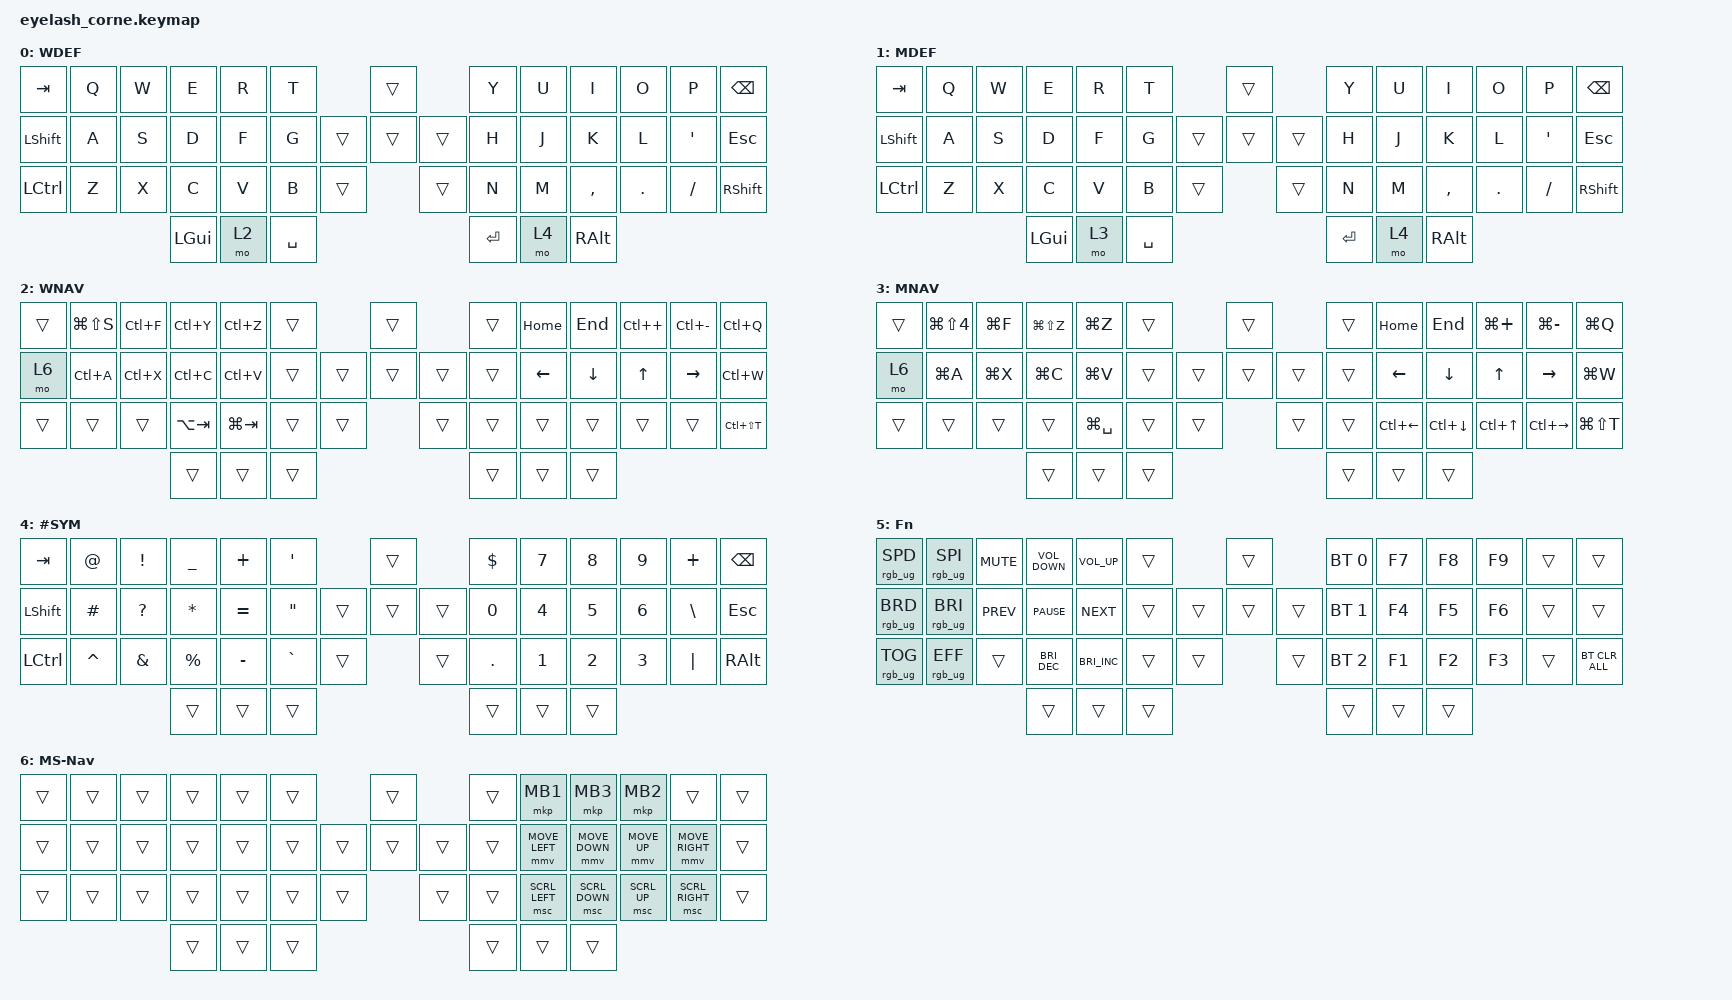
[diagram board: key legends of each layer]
#define ZMK_POINTING_DEFAULT_MOVE_VAL 1200  // 600
#define ZMK_POINTING_DEFAULT_SCRL_VAL 25   // 10

#include <input/processors.dtsi>
#include <zephyr/dt-bindings/input/input-event-codes.h>
#include <behaviors.dtsi>
#include <dt-bindings/zmk/bt.h>
#include <dt-bindings/zmk/keys.h>
#include <dt-bindings/zmk/pointing.h>
#include <dt-bindings/zmk/rgb.h>

&mmv_input_listener { input-processors = <&zip_xy_scaler 2 1>; };

&msc_input_listener { input-processors = <&zip_scroll_scaler 2 1>; };

&msc {
    acceleration-exponent = <1>;      // 0
    time-to-max-speed-ms = <100>;       // 300
    delay-ms = <0>;                   // 0
};

&mmv {
    time-to-max-speed-ms = <500>;
    acceleration-exponent = <1>;
    trigger-period-ms = <16>;
};

&soft_off { hold-time-ms = <2000>; };

/ {
    behaviors {
        td0: td0 {
            compatible = "zmk,behavior-tap-dance";
            display-name = "Shift/Caps Lock Tap Dance";
            #binding-cells = <0>;
            bindings = <&kp LEFT_SHIFT>, <&kp CAPS>;
        };
    };

    rgb_encoder: rgb_encoder {
        compatible = "zmk,behavior-sensor-rotate";
        #sensor-binding-cells = <0>;
        bindings = <&rgb_ug RGB_BRI>, <&rgb_ug RGB_BRD>;
    };

    scroll_encoder: scroll_encoder {
        compatible = "zmk,behavior-sensor-rotate";
        #sensor-binding-cells = <0>;
        bindings = <&msc SCRL_DOWN>, <&msc SCRL_UP>;

        tap-ms = <100>;
    };

    combos {
        compatible = "zmk,combos";

        semcol {
            bindings = <&kp SEMICOLON>;
            key-positions = <38 39>;
            layers = <0 1>;
            timeout-ms = <50>;
        };

        cpslck {
            bindings = <&kp CAPSLOCK>;
            key-positions = <28 41>;
            layers = <0 1>;
        };

        parentheses_left {
            bindings = <&kp LEFT_PARENTHESIS>;
            key-positions = <17 16>;
            layers = <0 1>;
        };

        parentheses_right {
            bindings = <&kp RIGHT_PARENTHESIS>;
            key-positions = <23 24>;
            layers = <0 1>;
        };

        bracket_left {
            bindings = <&kp LEFT_BRACKET>;
            key-positions = <3 4>;
            layers = <0 1>;
        };

        bracket_right {
            bindings = <&kp RIGHT_BRACKET>;
            key-positions = <8 9>;
            layers = <0 1>;
        };

        colon {
            bindings = <&kp COLON>;
            key-positions = <24 25>;
            layers = <0 1>;
        };

        grave {
            bindings = <&kp SQT>;
            key-positions = <15 16>;
            layers = <0 1>;
        };

        brace_left {
            bindings = <&kp LEFT_BRACE>;
            key-positions = <31 32>;
            layers = <0 1>;
        };

        brace_right {
            bindings = <&kp RIGHT_BRACE>;
            key-positions = <37 38>;
            layers = <0 1>;
        };

        less_than {
            bindings = <&kp LESS_THAN>;
            key-positions = <3 2>;
            layers = <0 1>;
        };

        bigger_than {
            bindings = <&kp GREATER_THAN>;
            key-positions = <9 10>;
            layers = <0 1>;
        };

        hyphen {
            bindings = <&kp MINUS>;
            key-positions = <32 37>;
            layers = <0 1>;
        };

        plus {
            bindings = <&kp PLUS>;
            key-positions = <4 8>;
            layers = <0 1>;
        };

        equal {
            bindings = <&kp EQUAL>;
            key-positions = <17 23>;
            layers = <0 1>;
        };

        Pipe {
            bindings = <&kp PIPE>;
            key-positions = <30 31>;
            layers = <0 1>;
        };

        astrsk {
            bindings = <&kp ASTERISK>;
            key-positions = <16 24>;
            layers = <0 1>;
        };

        excla {
            bindings = <&kp EXCLAMATION>;
            key-positions = <31 38>;
            layers = <0 1>;
        };

        qmrk {
            bindings = <&kp QUESTION>;
            key-positions = <9 3>;
            layers = <0 1>;
        };

        at {
            bindings = <&kp AT>;
            key-positions = <18 22>;
            layers = <0 1>;
        };

        underscore {
            bindings = <&kp UNDERSCORE>;
            key-positions = <33 36>;
            layers = <0 1>;
        };

        backslash {
            bindings = <&kp NON_US_BACKSLASH>;
            key-positions = <26 25>;
            layers = <0 1>;
        };

        forwardslash {
            bindings = <&kp SLASH>;
            key-positions = <14 15>;
            layers = <0 1>;
        };

        question_left {
            bindings = <&kp QUESTION>;
            key-positions = <16 24>;
            layers = <0 1>;
        };

        guion {
            bindings = <&kp MINUS>;
            key-positions = <7 5>;
            layers = <0 1>;
        };

        hash {
            bindings = <&kp HASH>;
            key-positions = <29 30>;
            layers = <0 1>;
        };

        ampersant {
            bindings = <&kp AMPERSAND>;
            key-positions = <1 2>;
            layers = <0 1>;
        };

        tilde {
            bindings = <&kp TILDE>;
            key-positions = <39 40>;
            layers = <0 1>;
        };

        caret {
            bindings = <&kp CARET>;
            key-positions = <10 11>;
            layers = <0 1>;
        };

        OS-Mac-Windows {
            bindings = <&to 0>;
            key-positions = <37 38 39 40>;
            layers = <3>;
        };

        OS-Windows-Mac {
            bindings = <&to 1>;
            key-positions = <37 38 39 40>;
            layers = <2>;
        };
    };

    keymap {
        compatible = "zmk,keymap";

        WindowsDef {
            display-name = "WDEF";
            bindings = <
&kp TAB           &kp Q  &kp W  &kp E     &kp R  &kp T                        &trans          &kp Y      &kp U  &kp I      &kp O    &kp P     &kp BSPC
&kp LEFT_SHIFT    &kp A  &kp S  &kp D     &kp F  &kp G                &trans  &trans  &trans  &kp H      &kp J  &kp K      &kp L    &kp SQT   &kp ESCAPE
&kp LEFT_CONTROL  &kp Z  &kp X  &kp C     &kp V  &kp B      &trans            &trans          &kp N      &kp M  &kp COMMA  &kp DOT  &kp FSLH  &kp RIGHT_SHIFT
                                &kp LGUI  &mo 2  &kp SPACE                                    &kp ENTER  &mo 4  &kp RALT
            >;
        };

        MacDef {
            display-name = "MDEF";
            bindings = <
&kp TAB           &kp Q  &kp W  &kp E     &kp R  &kp T                        &trans          &kp Y      &kp U  &kp I      &kp O    &kp P     &kp BSPC
&kp LEFT_SHIFT    &kp A  &kp S  &kp D     &kp F  &kp G                &trans  &trans  &trans  &kp H      &kp J  &kp K      &kp L    &kp SQT   &kp ESCAPE
&kp LEFT_CONTROL  &kp Z  &kp X  &kp C     &kp V  &kp B      &trans            &trans          &kp N      &kp M  &kp COMMA  &kp DOT  &kp FSLH  &kp RIGHT_SHIFT
                                &kp LGUI  &mo 3  &kp SPACE                                    &kp ENTER  &mo 4  &kp RALT
            >;
        };

        windowsNav {
            display-name = "WNAV";
            bindings = <
&trans  &kp LG(LS(S))  &kp LC(F)  &kp LC(Y)    &kp LC(Z)    &trans                    &trans          &trans  &kp HOME  &kp END         &kp LC(PLUS)  &kp LC(MINUS)  &kp LC(Q)
&mo 6   &kp LC(A)      &kp LC(X)  &kp LC(C)    &kp LC(V)    &trans            &trans  &trans  &trans  &trans  &kp LEFT  &kp DOWN_ARROW  &kp UP_ARROW  &kp RIGHT      &kp LC(W)
&trans  &trans         &trans     &kp LA(TAB)  &kp LG(TAB)  &trans  &trans            &trans          &trans  &trans    &trans          &trans        &trans         &kp LC(LS(T))
                                  &trans       &trans       &trans                                    &trans  &trans    &trans
            >;
        };

        Mac-Nav {
            display-name = "MNAV";
            bindings = <
&trans  &kp LG(LS(NUMBER_4))  &kp LG(F)  &kp LG(LS(Z))  &kp LG(Z)      &trans                    &trans          &trans  &kp HOME      &kp END             &kp LG(PLUS)      &kp LG(MINUS)  &kp LG(Q)
&mo 6   &kp LG(A)             &kp LG(X)  &kp LG(C)      &kp LG(V)      &trans            &trans  &trans  &trans  &trans  &kp LEFT      &kp DOWN_ARROW      &kp UP_ARROW      &kp RIGHT      &kp LG(W)
&trans  &trans                &trans     &trans         &kp LG(SPACE)  &trans  &trans            &trans          &trans  &kp LC(LEFT)  &kp LC(DOWN_ARROW)  &kp LC(UP_ARROW)  &kp LC(RIGHT)  &kp LG(LS(T))
                                         &trans         &trans         &trans                                    &trans  &trans        &trans
            >;
        };

        num-symbols {
            display-name = "#SYM";
            bindings = <
&kp TAB           &kp AT_SIGN  &kp EXCLAMATION  &kp UNDERSCORE  &kp PLUS   &kp SQT                              &trans          &kp DOLLAR  &kp N7  &kp N8  &kp N9  &kp PLUS  &kp BSPC
&kp LEFT_SHIFT    &kp HASH     &kp QUESTION     &kp ASTERISK    &kp EQUAL  &kp DOUBLE_QUOTES            &trans  &trans  &trans  &kp N0      &kp N4  &kp N5  &kp N6  &kp BSLH  &kp ESC
&kp LEFT_CONTROL  &kp CARET    &kp AMPERSAND    &kp PERCENT     &kp MINUS  &kp GRAVE          &trans            &trans          &kp DOT     &kp N1  &kp N2  &kp N3  &kp PIPE  &kp RIGHT_ALT
                                                &trans          &trans     &trans                                               &trans      &trans  &trans
            >;
        };

        functions {
            display-name = "Fn";
            bindings = <
&rgb_ug RGB_SPD  &rgb_ug RGB_SPI  &kp K_MUTE  &kp C_VOLUME_DOWN     &kp C_VOLUME_UP       &trans                    &trans          &bt BT_SEL 0  &kp F7  &kp F8  &kp F9  &trans  &trans
&rgb_ug RGB_BRD  &rgb_ug RGB_BRI  &kp K_PREV  &kp C_PAUSE           &kp C_NEXT            &trans            &trans  &trans  &trans  &bt BT_SEL 1  &kp F4  &kp F5  &kp F6  &trans  &trans
&rgb_ug RGB_TOG  &rgb_ug RGB_EFF  &trans      &kp C_BRIGHTNESS_DEC  &kp C_BRIGHTNESS_INC  &trans  &trans            &trans          &bt BT_SEL 2  &kp F1  &kp F2  &kp F3  &trans  &bt BT_CLR_ALL
                                              &trans                &trans                &trans                                    &trans        &trans  &trans
            >;
        };

        MouseNav {
            bindings = <
&trans  &trans  &trans  &trans  &trans  &trans                    &trans          &trans  &mkp MB1        &mkp MB3        &mkp MB2      &trans           &trans
&trans  &trans  &trans  &trans  &trans  &trans            &trans  &trans  &trans  &trans  &mmv MOVE_LEFT  &mmv MOVE_DOWN  &mmv MOVE_UP  &mmv MOVE_RIGHT  &trans
&trans  &trans  &trans  &trans  &trans  &trans  &trans            &trans          &trans  &msc SCRL_LEFT  &msc SCRL_DOWN  &msc SCRL_UP  &msc SCRL_RIGHT  &trans
                        &trans  &trans  &trans                                    &trans  &trans          &trans
            >;

            label = "MS-Nav";
        };
    };

    conditional_layers {
        compatible = "zmk,conditional-layers";

        windowsFnLayer {
            if-layers = <2 4>;
            then-layer = <5>;
        };

        MacFnLayer {
            if-layers = <4 3>;
            then-layer = <5>;
        };
    };
};
